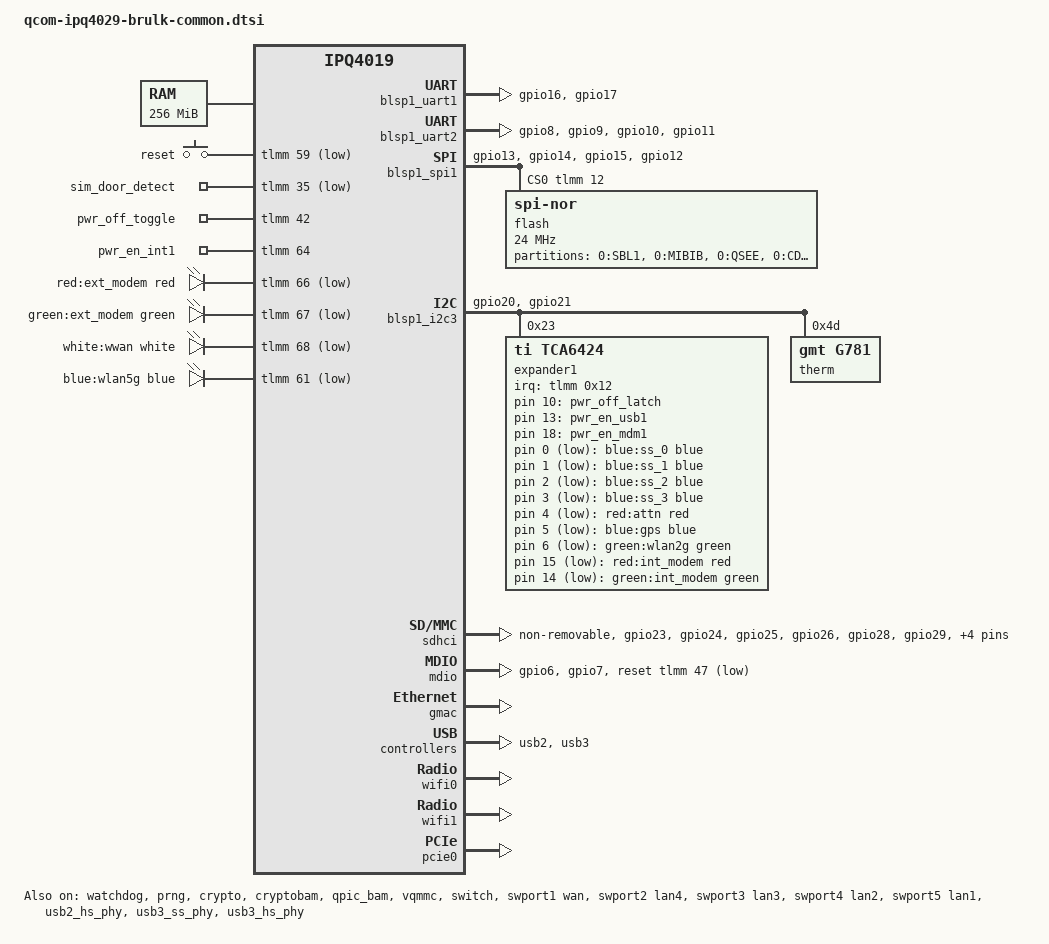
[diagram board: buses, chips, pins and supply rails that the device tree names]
// SPDX-License-Identifier: GPL-2.0-or-later
/* Copyright (c) 2025, Natalie Moore <natalie@natalielucy.dev> */

#include "qcom-ipq4019.dtsi"
#include <dt-bindings/gpio/gpio.h>
#include <dt-bindings/thermal/thermal.h>
#include <dt-bindings/input/input.h>
#include <dt-bindings/leds/common.h>
#include <dt-bindings/soc/qcom,tcsr.h>

/ {
	/* Common device tree fragments for both IBR1700 (Hulk) and AER2200 (Bruce) */
	aliases {
		//TODO: unresolved comment by @achterin
		led-failsafe = &led_attn_red;
		led-upgrade = &led_attn_red;
		label-mac-device = &gmac;
	};

	chosen {
		bootargs-append = " root=/dev/mmcblk0p2";
	};

	memory {
		device_type = "memory";
		reg = <0x80000000 0x10000000>;
	};

	soc {
		counter@4a1000 {
			compatible = "qcom,qca-gcnt";
			reg = <0x4a1000 0x4>;
		};
		
		tcsr@194b000 {
			compatible = "qcom,tcsr";
			reg = <0x194b000 0x100>;
			qcom,usb-hsphy-mode-select = <TCSR_USB_HSPHY_HOST_MODE>;
		};

		ess_tcsr@1953000 {
			compatible = "qcom,tcsr";
			reg = <0x1953000 0x1000>;
			qcom,ess-interface-select = <TCSR_ESS_PSGMII>;
		};

		tcsr@1949000 {
			compatible = "qcom,tcsr";
			reg = <0x1949000 0x100>;
			qcom,wifi_glb_cfg = <TCSR_WIFI_GLB_CFG>;
		};

		tcsr@1957000 {
			compatible = "qcom,tcsr";
			reg = <0x1957000 0x100>;
			qcom,wifi_noc_memtype_m0_m2 = <TCSR_WIFI_NOC_MEMTYPE_M0_M2>;
		};
	};

	keys {
		compatible = "gpio-keys";

		reset {
			label = "reset";
			gpios = <&tlmm 59 GPIO_ACTIVE_LOW>;
			linux,code = <KEY_RESTART>;
		};
	};

	gpio_export {
		compatible = "gpio-export";

		sim_door_detect {
			gpio-export,name = "sim_door_detect";
			gpio-export,input = <0>;
			gpio-export,direction_may_change = <0>;
			gpios = <&tlmm 35 GPIO_ACTIVE_LOW>;
		};

		pwr_off_toggle {
			gpio-export,name = "pwr_off_toggle";
			gpio-export,output = <0>;
			gpio-export,direction_may_change = <0>;
			gpios = <&tlmm 42 GPIO_ACTIVE_HIGH>;
		};

		pwr_en_int1 {
			gpio-export,name = "pwr_en_int1";
			gpio-export,output = <1>;
			gpio-export,direction_may_change = <0>;
			gpios = <&tlmm 64 GPIO_ACTIVE_HIGH>;
		};

		pwr_off_latch {
			gpio-export,name = "pwr_off_latch";
			gpio-export,output = <0>;
			gpio-export,direction_may_change = <0>;
			gpios = <&expander1 10 GPIO_ACTIVE_HIGH>;
		};

		pwr_en_usb1 {
			gpio-export,name = "pwr_en_usb1";
			gpio-export,output = <1>;
			gpio-export,direction_may_change = <0>;
			gpios = <&expander1 13 GPIO_ACTIVE_HIGH>;
		};

		pwr_en_mdm1 {
			gpio-export,name = "pwr_en_mdm1";
			gpio-export,output = <1>;
			gpio-export,direction_may_change = <0>;
			gpios = <&expander1 18 GPIO_ACTIVE_HIGH>;
		};
	};

	leds {
		compatible = "gpio-leds";

		led_ext_modem_red: led-0 {
			function = LED_FUNCTION_STATUS;
			color = <LED_COLOR_ID_RED>;
			gpios = <&tlmm 66 GPIO_ACTIVE_LOW>;
			label = "red:ext_modem";
		};

		led_ext_modem_green: led-1 {
			function = LED_FUNCTION_STATUS;
			color = <LED_COLOR_ID_GREEN>;
			gpios = <&tlmm 67 GPIO_ACTIVE_LOW>;
			label = "green:ext_modem";
		};

		led_wwan_white: led-2 {
			function = LED_FUNCTION_STATUS;
			color = <LED_COLOR_ID_WHITE>;
			gpios = <&tlmm 68 GPIO_ACTIVE_LOW>;
			label = "white:wwan";
		};

		led_ss_0_blue: led-7 {
			function = LED_FUNCTION_STATUS;
			color = <LED_COLOR_ID_BLUE>;
			gpios = <&expander1 0 GPIO_ACTIVE_LOW>;
			label = "blue:ss_0";
		};

		led_ss_1_blue: led-8 {
			function = LED_FUNCTION_STATUS;
			color = <LED_COLOR_ID_BLUE>;
			gpios = <&expander1 1 GPIO_ACTIVE_LOW>;
			label = "blue:ss_1";
		};

		led_ss_2_blue: led-9 {
			function = LED_FUNCTION_STATUS;
			color = <LED_COLOR_ID_BLUE>;
			gpios = <&expander1 2 GPIO_ACTIVE_LOW>;
			label = "blue:ss_2";
		};

		led_ss_3_blue: led-10 {
			function = LED_FUNCTION_STATUS;
			color = <LED_COLOR_ID_BLUE>;
			gpios = <&expander1 3 GPIO_ACTIVE_LOW>;
			label = "blue:ss_3";
		};

		led_attn_red: led-11 {
			function = LED_FUNCTION_STATUS;
			color = <LED_COLOR_ID_RED>;
			gpios = <&expander1 4 GPIO_ACTIVE_LOW>;
			label = "red:attn";
		};

		led_gps_blue: led-12 {
			function = LED_FUNCTION_STATUS;
			color = <LED_COLOR_ID_BLUE>;
			gpios = <&expander1 5 GPIO_ACTIVE_LOW>;
			label = "blue:gps";
		};

		led_2g_green: led-13 {
			function = LED_FUNCTION_STATUS;
			color = <LED_COLOR_ID_GREEN>;
			gpios = <&expander1 6 GPIO_ACTIVE_LOW>;
			label = "green:wlan2g";
		};

		led_5g_blue: led-14 {
			function = LED_FUNCTION_STATUS;
			color = <LED_COLOR_ID_BLUE>;
			gpios = <&tlmm 61 GPIO_ACTIVE_LOW>;
			label = "blue:wlan5g";
		};

		led_int_modem_red: led-15 {
			function = LED_FUNCTION_STATUS;
			color = <LED_COLOR_ID_RED>;
			gpios = <&expander1 15 GPIO_ACTIVE_LOW>;
			label = "red:int_modem";
		};

		led_int_modem_green: led-16 {
			function = LED_FUNCTION_STATUS;
			color = <LED_COLOR_ID_GREEN>;
			gpios = <&expander1 14 GPIO_ACTIVE_LOW>;
			label = "green:int_modem";
		};
	};
};

&watchdog {
	status = "okay";
};

&prng {
	status = "okay";
};

&crypto {
	status = "okay";
};

&blsp_dma {
	status = "okay";
};

&blsp1_uart1 {
		status = "okay";
		pinctrl-0 = <&serial_0_pins>;
		pinctrl-names = "default";
};

&blsp1_uart2 {
		status = "okay";
		pinctrl-0 = <&serial_1_pins>;
		pinctrl-names = "default";
};

&blsp1_spi1 {
	status = "okay";

	pinctrl-0 = <&spi_0_pins>;
	pinctrl-names = "default";
	cs-gpios = <&tlmm 12 GPIO_ACTIVE_HIGH>;

	flash@0 {
		compatible = "jedec,spi-nor";
		spi-max-frequency = <24000000>;
		reg = <0>;

		#address-cells = <1>;
		#size-cells = <1>;

		partitions {
			compatible = "fixed-partitions";
			#address-cells = <1>;
			#size-cells = <1>;

			partition0@0 {
				label = "0:SBL1";
				reg = <0x00000000 0x00040000>;
				read-only;
			};

			partition1@40000 {
				label = "0:MIBIB";
				reg = <0x00040000 0x00020000>;
				read-only;
			};

			partition2@60000 {
				label = "0:QSEE";
				reg = <0x00060000 0x00060000>;
				read-only;
			};

			partition3@c0000 {
				label = "0:CDT";
				reg = <0x000c0000 0x00010000>;
				read-only;
			};

			partition4@d0000 {
				label = "0:DDRPARAMS";
				reg = <0x000d0000 0x00010000>;
				read-only;
			};

			partition5@e0000 {
				label = "0:APPSBLENV"; /* uboot env */
				reg = <0x000e0000 0x00010000>;
				read-only;
			};

			partition6@f0000 {
				label = "0:APPSBL"; /* uboot */
				reg = <0x000f0000 0x00080000>;
				read-only;
			};

			partition7@170000 {
				label = "0:ART";
				reg = <0x00170000 0x00010000>;
				read-only;

				nvmem-layout {
					compatible = "fixed-layout";
					#address-cells = <1>;
					#size-cells = <1>;

					macaddr_lan: mac-address@0 {
						reg = <0x0 0x6>;
					};

					macaddr_wan: mac-address@6 {
						reg = <0x6 0x6>;
					};

					precal_art_1000: precal@1000 {
						reg = <0x1000 0x2f20>;
					};

					precal_art_5000: precal@5000 {
						reg = <0x5000 0x2f20>;
					};

					precal_art_9000: precal@9000 {
						reg = <0x9000 0x2f20>;
					};
				};
			};

			partition8@180000 {
				label = "0:CUSTDATA";
				reg = <0x00180000 0x00010000>;
				read-only;
			};
		};
	};
};

&blsp1_i2c3 {
	pinctrl-0 = <&i2c_0_pins>;
	pinctrl-names = "default";
	status = "okay";

	expander1: gpio@35 {
		compatible = "ti,tca6424";
		gpio-controller;
		#gpio-cells = <2>;
		interrupts = <0x12>;
		interrupt-parent = <&tlmm>;
		reg = <0x23>;
	};

	therm: temperature-sensor@77 {
		compatible = "gmt,g781";
		reg = <0x4d>;
		#thermal-sensor-cells = <1>;
		status = "ok";
	};
};


&cryptobam {
	status = "okay";
};

&qpic_bam {
	status = "okay";
};

&tlmm {
	mdio_pins: mdio_pinmux {
		mux_1 {
			pins = "gpio6";
			function = "mdio";
			bias-pull-up;
		};
		mux_2 {
			pins = "gpio7";
			function = "mdc";
			bias-pull-up;
		};
	};

	spi_0_pins: spi_0_pinmux {
		pin {
			function = "blsp_spi0";
			pins = "gpio13", "gpio14", "gpio15";
			drive-strength = <12>;
			bias-disable;
		};
		pin_cs {
			function = "gpio";
			pins = "gpio12";
			drive-strength = <2>;
			bias-disable;
			output-high;
		};
	};

	i2c_0_pins: i2c_0_pinmux {
		mux {
			pins = "gpio20", "gpio21";
			function = "blsp_i2c0";
			drive-open-drain;
		};
	};


	serial_0_pins: serial_0_pinmux {
		mux {
			pins = "gpio16", "gpio17";
			function = "blsp_uart0";
			bias-disable;
		};
	};

	serial_1_pins: serial_1_pinmux {
		mux {
			/* RS-232 port supports flow control */
			pins = "gpio8", "gpio9", "gpio10", "gpio11";
			function = "blsp_uart1";
			bias-disable;
		};
	};

	sd_pins: sd_pins {
		pinmux {
			function = "sdio";
			pins = "gpio23", "gpio24", "gpio25", "gpio26",
				"gpio28", "gpio29", "gpio30", "gpio31";
			drive-strength = <10>;
		};
		pinmux_sd_clk {
			function = "sdio";
			pins = "gpio27";
			drive-strength = <16>;
		};
		pinmux_sd7 {
			function = "sdio";
			pins = "gpio32";
			drive-strength = <10>;
			bias-disable;
		};
	};
};

&vqmmc {
	status = "okay";
};

&sdhci {
	status = "okay";

	pinctrl-0 = <&sd_pins>;
	pinctrl-names = "default";
	vqmmc-supply = <&vqmmc>;
	non-removable;
};

&mdio {
	status = "okay";
	pinctrl-0 = <&mdio_pins>;
	pinctrl-names = "default";
	reset-gpios = <&tlmm 47 GPIO_ACTIVE_LOW>;
	reset-delay-us = <2000>;
};

&ethphy0 {
	reg = <0x08>;
};

&ethphy1 {
	reg = <0x09>;
};

&ethphy2 {
	reg = <0x0a>;
};

&ethphy3 {
	reg = <0x0b>;
};

&ethphy4 {
	reg = <0x0c>;
};

&psgmiiphy {
	reg = <0x0d>;
};

&gmac {
	status = "okay";
	nvmem-cell-names = "mac-address";
	nvmem-cells = <&macaddr_wan>;
};

&switch {
	status = "okay";
};

&swport1 {
	status = "okay";
	label = "wan";
	nvmem-cell-names = "mac-address";
	nvmem-cells = <&macaddr_wan>;
};

&swport2 {
	status = "okay";
	label = "lan4";
	nvmem-cell-names = "mac-address";
	nvmem-cells = <&macaddr_lan>;
};

&swport3 {
	status = "okay";
	label = "lan3";
	nvmem-cell-names = "mac-address";
	nvmem-cells = <&macaddr_lan>;
};

&swport4 {
	status = "okay";
	label = "lan2";
	nvmem-cell-names = "mac-address";
	nvmem-cells = <&macaddr_lan>;
};

&swport5 {
	status = "okay";
	label = "lan1";
	nvmem-cell-names = "mac-address";
	nvmem-cells = <&macaddr_lan>;
};

&usb2 {
	status = "okay";
};

&usb2_hs_phy {
	status = "okay";
};

&usb3 {
	status = "okay";
};

&usb3_ss_phy {
	status = "okay";
};

&usb3_hs_phy {
	status = "okay";
};

&wifi0 {
	status = "okay";
};

&wifi1 {
	status = "okay";
};

&pcie0 {
	status = "okay";
	perst-gpio = <&tlmm 38 GPIO_ACTIVE_LOW>;
};

&pcie_bridge0 {
	ext_wifi: wifi@0,0 {
		compatible = "qcom,ath10k";
		reg = <0x00010000 0 0 0 0>;
		ieee80211-freq-limit = <5470000 5875000>;
		status = "disabled";
	};
};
